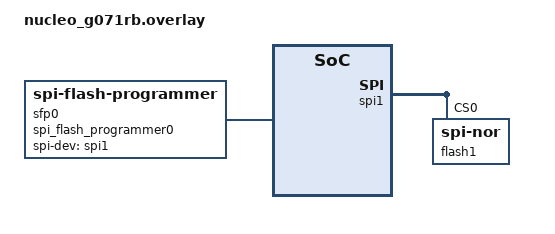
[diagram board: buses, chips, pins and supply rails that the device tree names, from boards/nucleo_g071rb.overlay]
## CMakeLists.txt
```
# SPDX-License-Identifier: Apache-2.0

cmake_minimum_required(VERSION 3.20.0)
find_package(Zephyr REQUIRED HINTS $ENV{ZEPHYR_BASE})
project(flash_jesd216)

set(app_sources "")

list(APPEND app_sources
  src/main.c
  src/sfp.c
)

if(CONFIG_SFP_SHELL)
list(APPEND app_sources
  src/sfp_shell.c
)
endif()

target_sources(app PRIVATE ${app_sources})
target_include_directories(app PRIVATE include)
target_include_directories(app PRIVATE ${ZEPHYR_BASE}/..)

zephyr_syscall_header(
  ${ZEPHYR_BASE}/samples/spi_flash_programmer/include/zephyr/drivers/sfp.h
)
```

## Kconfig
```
source "Kconfig.zephyr"

menu "SPI Flash Programmer Configuration"

config SPI_FLASH_PROGRAMMER
    bool "SPI Flash Programmer"
    default y
    select DEVICE_MUTABLE
    select DT_HAS_JEDEC_SPI_NOR_ENABLED
    select FLASH
    select FLASH_JESD216
    select FLASH_JESD216_API
    select SPI
    select SPI_NOR
    select REBOOT
    help
      This option enables the SPI Flash Programmer sample application.

config SFP_SHELL
    bool "SPI flash programmer shell"
    select SHELL
    select CRC
    select CRC_SHELL
    select FLASH_SHELL
    help
      Select 'y' here to enable the SPI flash programmer shell.

config SFP_IDENTIFY_REPS
    int "Number of repetitions to identify Flash"
    range 1 10
    default 3
    help
      For a given SPI clock frequency, sfp_identify() can be configured to require several
      successful reads of serial flash discoverable parameters (SFDP) in oder to deem a
      a particular SPI clock frequency as stable. This parameter makes the number of
      repetitions easily configurable.

endmenu
```

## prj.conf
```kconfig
CONFIG_APPLICATION_DEFINED_SYSCALL=y
CONFIG_SFP_SHELL=y

# CONFIG_MAIN_STACK_SIZE=4096

CONFIG_DEBUG_INFO=y
CONFIG_DEBUG_OPTIMIZATIONS=y

CONFIG_LOG=y
CONFIG_LOG_MODE_IMMEDIATE=y

CONFIG_SHELL_CMDS_RESIZE=n
```

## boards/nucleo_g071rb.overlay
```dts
#include <mem.h>

/ {
    sfp0: spi_flash_programmer0 {
        compatible = "zephyr,spi-flash-programmer";
        status = "okay";

        spi-flash-programmer;
        vio-3p3-volts;
        min-transceiver-sck-frequency = <250000>;
        max-transceiver-sck-frequency = <31999999>;

        spi-dev = <&spi1>;
        spi-nor-dev = <&flash1>;
    };
};

&spi1 {

    /*
     * This jedec,spi-nor device is intentionally declared with invalid parameters.
     *
     * Using the devicetree API to query specific values associated with the declaration of the
     * device in DTS will naturally always return 0.
     *
     * However, one key difference that is important to note, is that this device is mutable!
     *
     * This allows us to reconfigure certain device parameters at runtime, such as
     * spi-max-frequency, size, and jedec-id, which may be determined at runtime via probing
     * the bus.
     */
    flash1: flash@0 {
        /* base bindings */
        compatible = "jedec,spi-nor";
        status = "okay";
        reg = <0>;

        /* spi-device bindings */
        spi-max-frequency = <0>;

        /* jedec,jesd216 bindings */
        size = <0>;
        jedec-id = [00 00 00];

        /* mutable bindings */
        zephyr,mutable;
    };
};

#if 0
&spi1 {

    /*
     * pinctrl-0 is identical to the default, so this is just informative.
     * The line below could be modified for different, non-default board settings.
     *
     * Using the w25q16 
     * https://www.adafruit.com/product/5632
     *
     * and nucelo_g071rb
     * https://www.st.com/en/evaluation-tools/nucleo-g071rb.html
     *
     * wire as follows:
     *
     * w25q16 | nucleo_g071rb | pin label | pinctrl name
     * -------------------------------------------------
     * G      | CN7 pin 20    | N/A       | N/A
     * 3V     | CN7 pin 16    | N/A       | N/A
     * CS     | CN10 pin 17   | PB0       | spi1_nss_pb0
     * CLK    | CN10 pin 11   | PA5       | spi1_sck_pa5
     * IO1    | CN10 pin 13   | PA6       | spi1_miso_pa6
     * IO0    | CN10 pin 15   | PA7       | spi1_mosi_pa7
     * IO2    | N/C           | N/A       | N/A
     * IO3    | N/C           | N/A       | N/A
     */
    /* pinctrl-0 = <&spi1_nss_pb0 &spi1_sck_pa5 &spi1_miso_pa6 &spi1_mosi_pa7>; */

    /*
     * This line is also redundant, because this particular chip does SPI CS in hardware.
     * The gpiob 0 pin corresponds to the named pb0 pin above.
     */
    /* cs-gpios = <&gpiob 0 GPIO_ACTIVE_LOW>; */

    flash1: flash@0 {
        /* base properties */
        compatible = "winbond,w25q16jv", "jedec,spi-nor";
        status = "okay";

        /* spi-device properties */
        reg = <0>;
        spi-max-frequency = <31999999>; /* spi_ll_stm32.c driver does not properly use MIN(spi-max-frequency, bus-frequency) */
        spi-cpol;
        spi-cpha;

        /* jedec,spi-nor properties */
        size = <DT_SIZE_M(16)>;

        /* jedec,spi-nor-common properties */
        has-dpd;
        t-enter-dpd = <3000>;
        t-exit-dpd = <3000>;

        /* jedec,jesd216 properties */
        jedec-id = [ef 40 15];
    };
};
#endif
```

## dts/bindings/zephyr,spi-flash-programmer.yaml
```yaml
description: A SPI flash programmer device

compatible: "zephyr,spi-flash-programmer"

include: base.yaml

properties:
  spi-flash-programmer:
    type: boolean
    required: true
    description: |
      Indicates that the device is a SPI flash programmer.
  vio-1p8-volts:
    type: boolean
    description: |
      Indicates that the SPI flash programmer supports 1.8V I/O voltage.
  vio-3p3-volts:
    type: boolean
    description: |
      Indicates that the SPI flash programmer supports 3.3V I/O voltage.
  min-transceiver-sck-frequency:
    type: int
    required: true
    description: |
      Minimum SPI transceiver serial-clock (SCK) frequency, in Hz.
  max-transceiver-sck-frequency:
    type: int
    required: true
    description: |
      Maximum SPI transceiver serial-clock (SCK) frequency, in Hz.
  spi-dev:
    type: phandle
    required: true
    description: |
      Phandle to the SPI device node that the SPI flash programmer is connected to.
  spi-nor-dev:
    type: phandle
    required: true
    description: |
      Phandle to the SPI NOR device node.
```

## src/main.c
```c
#include <zephyr/device.h>
#include <zephyr/devicetree.h>
#include <zephyr/drivers/sfp.h>

int main()
{
	return sfp_identify(DEVICE_DT_GET(DT_NODELABEL(sfp0)));
}
```

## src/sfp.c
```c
#define DT_DRV_COMPAT zephyr_spi_flash_programmer

#include <stdint.h>

#include <zephyr/drivers/flash.h>
#include <zephyr/drivers/flash/jesd216.h>
#include <zephyr/drivers/flash/spi_nor.h>
#include <zephyr/drivers/sfp.h>
#include <zephyr/drivers/spi.h>
#include <zephyr/drivers/flash/jesd216.h>
#include <zephyr/kernel.h>
#include <zephyr/sys/si.h>

/* TODO: create a Kconfig */
#define SFP_SFDP_SIZE 5

/* clang-format off */
const char *const sfp_vio_s[] = {
    [SFP_VIO_1p8V] = "1.8 V",
    [SFP_VIO_3p3V] = "3.3 V",
};
/* clang-format on */

/* clang-format off */
const char *const sfp_setting_s[] = {
    [SFP_SETTING_CACHE] = "cache",
    [SFP_SETTING_CPHA] = "cpha",
    [SFP_SETTING_CPOL] = "cpol",
    [SFP_SETTING_CSPOL] = "cspol",
    [SFP_SETTING_FREQ] = "freq",
    [SFP_SETTING_MAX_FREQ] = "max_freq",
    [SFP_SETTING_MIN_FREQ] = "min_freq",
	[SFP_SETTING_SECT_SIZE] = "sector_size",
    [SFP_SETTING_SIZE] = "size",
    [SFP_SETTING_VIO] = "vio",
};
/* clang-format on */

/* clang-format off */
const char *const sfp_setting_desc[] = {
    [SFP_SETTING_CACHE] = "Get or set the cached image name. This sets the default for the 'burn' command.",
    [SFP_SETTING_CPHA] = "Get or set the current SPI clock phase; 0 := sample data on the first clock edge, 1 := sample data on the second clock edge.",
    [SFP_SETTING_CPOL] = "Get or set the SPI clock idle state (polarity); 0 := logic low. 1 := logic high.",
    [SFP_SETTING_CSPOL] = "Get or set the SPI chip-select idle state (polarity); 0 := logic low. 1 := logic high.",
    [SFP_SETTING_FREQ] = "Get or set the current SPI clock frequency.",
    [SFP_SETTING_MAX_FREQ] = "Get or set the maximum SPI clock frequency supported by the device.",
    [SFP_SETTING_MIN_FREQ] = "Get or set the minimum SPI clock frequency supported by the device.",
	[SFP_SETTING_SECT_SIZE] = "Get the minimum sector size (erase size, in bytes) supported by the device.",
    [SFP_SETTING_SIZE] = "Get the SPI flash device size (in bytes).",
    [SFP_SETTING_VIO] = "Get or set the I/O voltage.",
};
/* clang-format on */

/* clang-format off */
const char *const sfp_cmd_s[] = {
	[SFP_CMD_BURN] = "burn",
	[SFP_CMD_CACHE] = "cache",
	[SFP_CMD_GET] = "get",
	[SFP_CMD_HELP] = "help",
	[SFP_CMD_IDENTIFY] = "identify",
	[SFP_CMD_SET] = "set",
};
/* clang-format on */

struct sfp_impl_config {
	struct sfp_config_common common;
	const struct device *spi_dev;
	const struct device *spi_nor_dev;
	bool vio[_SFP_VIO_NUM];
};

struct sfp_impl_data {
	/* TODO: actually lock this mutex sometimes */
	struct k_mutex lock;
	struct sfp_setting settings[_SFP_SETTING_NUM];
};

int sfp_str_to_setting(const char *s)
{
	ARRAY_FOR_EACH(sfp_setting_s, i) {
		if (strcmp(sfp_setting_s[i], s) == 0) {
			return i;
		}
	}

	return -EINVAL;
}

static inline void sfp_impl_set_bool(const struct device *dev, enum sfp_setting_e setting, bool val)
{
	struct sfp_impl_data *data = dev->data;

	data->settings[setting].value.v_bool = val;
	data->settings[setting].type = setting;
	data->settings[setting].is_set = true;
}

static inline void sfp_impl_set_u32(const struct device *dev, enum sfp_setting_e setting,
				    uint32_t val)
{
	struct sfp_impl_data *data = dev->data;

	data->settings[setting].value.v_u32 = val;
	data->settings[setting].type = setting;
	data->settings[setting].is_set = true;
}

static inline void sfp_impl_set_str(const struct device *dev, enum sfp_setting_e setting,
				    const char *val)
{
	struct sfp_impl_data *data = dev->data;

	strncpy(data->settings[setting].value.v_str, val,
		sizeof(data->settings[setting].value.v_str));
	data->settings[setting].type = setting;
	data->settings[setting].is_set = true;
}

static inline bool sfp_impl_get_bool(const struct device *dev, enum sfp_setting_e setting)
{
	struct sfp_impl_data *data = dev->data;

	return data->settings[setting].value.v_bool;
}

static inline uint32_t sfp_impl_get_u32(const struct device *dev, enum sfp_setting_e setting)
{
	struct sfp_impl_data *data = dev->data;

	return data->settings[setting].value.v_u32;
}

static uint32_t sfp_parse_jesd216_size(const struct device *dev,
				       const struct jesd216_sfdp_header *hp)
{
	uint32_t ret = 0;

	for (const struct jesd216_param_header *it = hp->phdr,
					       *end = it + MIN(SFP_SFDP_SIZE, 1 + hp->nph);
	     it < end; ++it) {
		uint16_t id = jesd216_param_id(it);
		uint32_t addr = jesd216_param_addr(it);

		/* FIXME: VLAs are bad. This should be a max-size type array */
		uint32_t dw[it->len_dw];

		if (flash_sfdp_read(dev, addr, dw, sizeof(dw)) < 0) {
			break;
		}

		if (id != JESD216_SFDP_PARAM_ID_BFP) {
			continue;
		}

		ret = (uint32_t)jesd216_bfp_density((struct jesd216_bfp *)dw);
		break;
	}

	return ret;
}

static int sfp_impl_identify(const struct device *dev)
{
	int rc;
	struct jedec_dt_spec jedec_dt;
	uint8_t jesd216_buf[JESD216_SFDP_SIZE(SFP_SFDP_SIZE)];
	const struct jesd216_sfdp_header *const sfdp_hdr =
		(const struct jesd216_sfdp_header *)jesd216_buf;
	const struct sfp_impl_config *config = dev->config;
	struct spi_dt_spec _spi_dt = {
		.bus = config->spi_dev,
		.config =
			{
				.frequency = sfp_sck_min(dev),
				.operation = SPI_WORD_SET(8) | SPI_LOCK_ON,
			},
	};
	struct spi_dt_spec *const spi_dt = &_spi_dt;

	for (int v = 0; v < _SFP_VIO_NUM; ++v) {
		if (!config->vio[v]) {
			continue;
		}

		/* TODO: switch to 'v' I/O voltage here */

		for (int cpha = (int)true; cpha >= (int)false; --cpha) {
			for (int cpol = (int)true; cpol >= (int)false; --cpol) {
				for (int cspol = (int)true; cspol >= (int)false; --cspol) {
					if ((bool)cpha) {
						spi_dt->config.operation |= SPI_MODE_CPHA;
					} else {
						spi_dt->config.operation &= ~SPI_MODE_CPHA;
					}

					if ((bool)cpol) {
						spi_dt->config.operation |= SPI_MODE_CPOL;
					} else {
						spi_dt->config.operation &= ~SPI_MODE_CPOL;
					}

					/*
					 * This one is backwards - also if controller does not
					 * support inverting CS, then it's necessary to use a GPIO,
					 * so that property should be set in the associated
					 * spi_cs_control.
					 */
					if ((bool)cspol) {
						spi_dt->config.operation &= ~SPI_CS_ACTIVE_HIGH;
					} else {
						spi_dt->config.operation |= SPI_CS_ACTIVE_HIGH;
					}

					rc = spi_nor_set_spi_dt_spec(config->spi_nor_dev, spi_dt);
					if (rc < 0) {
						printk("%s() failed: %d", "spi_nor_set_probe_data",
						       rc);
						return rc;
					}

					rc = flash_read_jedec_id(config->spi_nor_dev, jedec_dt.id);
					if (rc < 0) {
						continue;
					}

					rc = flash_sfdp_read(config->spi_nor_dev, 0, jesd216_buf,
							     sizeof(jesd216_buf));
					if ((rc < 0) ||
					    (JESD216_SFDP_MAGIC != jesd216_sfdp_magic(sfdp_hdr))) {
						continue;
					}

					jedec_dt.size = sfp_parse_jesd216_size(config->spi_nor_dev,
									       sfdp_hdr);
					rc = spi_nor_set_jedec_dt_spec(config->spi_nor_dev,
								       &jedec_dt);
					if (rc < 0) {
						return rc;
					}

					/* discovered a JESD216-compatible device */

					/* save parameters for subsequent use */
					sfp_impl_set_bool(dev, SFP_SETTING_VIO, v);
					sfp_impl_set_u32(dev, SFP_SETTING_SIZE, jedec_dt.size >> 3);
					sfp_impl_set_bool(dev, SFP_SETTING_CPHA, cpha);
					sfp_impl_set_bool(dev, SFP_SETTING_CPOL, cpol);
					sfp_impl_set_bool(dev, SFP_SETTING_CSPOL, cspol);
					sfp_impl_set_u32(dev, SFP_SETTING_FREQ, sfp_sck_min(dev));

					goto found_device;
				}
			}
		}
	}

	return -ENODEV;

found_device:
	/*
	 * For practicality reasons, cannot use stlib.h bsearch() since an array of all frequencies
	 * between e.g. 1 and 32M is too large for memory-constrained devices.
	 */

	{
		int i, step, N;

		N = sfp_sck_max(dev) - sfp_sck_min(dev) + 1;
		for (step = 1; step < N; step <<= 1) {
			/* nothing here */
		}
		for (i = 0; step; step >>= 1) {
			if (i + step < N) {
				spi_dt->config.frequency = sfp_sck_min(dev) + i + step;

				for (int j = 0; j < CONFIG_SFP_IDENTIFY_REPS; ++j) {
					uint8_t tmp_id[3];
					rc = flash_read_jedec_id(config->spi_nor_dev, tmp_id);
					if ((rc < 0) || (memcmp(jedec_dt.id, tmp_id,
								sizeof(jedec_dt.id))) != 0) {
						goto next_step;
					}
				}

				i += step;
				/* save parameters for subsequent use */
				sfp_impl_set_u32(dev, SFP_SETTING_FREQ, spi_dt->config.frequency);
			}
		next_step:
			continue;
		}
	}

	/* TODO: write to output parameters and move printing to the shell */
	printk("Found [%02x, %02x, %02x], %u %sbit, vio: %s, cpol:%u, cpha:%u, cspol:%u, sck: "
	       "%u %sHz\n",
	       jedec_dt.id[0], jedec_dt.id[1], jedec_dt.id[2],
	       DIV_ROUND_UP(sfp_impl_get_u32(dev, SFP_SETTING_SIZE) << 3,
			    1 << si_base2_shift(sfp_impl_get_u32(dev, SFP_SETTING_SIZE) << 3)),
	       /* looks weird printing Mibit instead of Mbit here */
	       si_prefix(sfp_impl_get_u32(dev, SFP_SETTING_SIZE)),
	       sfp_vio_s[sfp_impl_get_u32(dev, SFP_SETTING_VIO)],
	       sfp_impl_get_bool(dev, SFP_SETTING_CPOL), sfp_impl_get_bool(dev, SFP_SETTING_CPHA),
	       sfp_impl_get_bool(dev, SFP_SETTING_CSPOL),
	       DIV_ROUND_UP(sfp_impl_get_u32(dev, SFP_SETTING_FREQ),
			    si_div(sfp_impl_get_u32(dev, SFP_SETTING_FREQ))),
	       si_prefix(sfp_impl_get_u32(dev, SFP_SETTING_FREQ)));

	return 0;
}

static int sfp_impl_get(const struct device *dev, struct sfp_setting *setting, size_t n)
{
	struct sfp_impl_data *const data = dev->data;

	for (size_t i = 0; i < n; ++i) {
		setting[i] = data->settings[setting[i].type];
	}

	return 0;
}

static const struct sfp_driver_api sfp_impl_driver = {
	.get = sfp_impl_get,
	// .set = sfp_impl_set,
	// .unset = sfp_impl_unset,
	.identify = sfp_impl_identify,
};

static int sfp_impl_init(const struct device *dev)
{
	struct sfp_impl_data *data = dev->data;

	return k_mutex_init(&data->lock);
}

#define DEFINE_SFP(_n)                                                                             \
                                                                                                   \
	BUILD_ASSERT(DT_INST_PROP(_n, min_transceiver_sck_frequency) > 0);                         \
	BUILD_ASSERT(DT_INST_PROP(_n, max_transceiver_sck_frequency) >=                            \
		     DT_INST_PROP(_n, min_transceiver_sck_frequency));                             \
	BUILD_ASSERT(DT_INST_PROP(_n, max_transceiver_sck_frequency) < INT32_MAX);                 \
                                                                                                   \
	static const struct sfp_impl_config sfp_impl_config_##_n = {                               \
		.common =                                                                          \
			{                                                                          \
				.freq_min = DT_INST_PROP(_n, min_transceiver_sck_frequency),       \
				.freq_max = DT_INST_PROP(_n, max_transceiver_sck_frequency),       \
			},                                                                         \
		.spi_dev = DEVICE_DT_GET(DT_INST_PHANDLE(_n, spi_dev)),                            \
		.spi_nor_dev = DEVICE_DT_GET(DT_INST_PHANDLE(_n, spi_nor_dev)),                    \
		.vio =                                                                             \
			{                                                                          \
				[SFP_VIO_1p8V] = DT_INST_PROP(_n, vio_1p8_volts),                  \
				[SFP_VIO_3p3V] = DT_INST_PROP(_n, vio_3p3_volts),                  \
			},                                                                         \
	};                                                                                         \
                                                                                                   \
	static struct sfp_impl_data sfp_impl_data_##_n;                                            \
                                                                                                   \
	DEVICE_DT_INST_DEFINE(_n, sfp_impl_init, NULL, &sfp_impl_data_##_n, &sfp_impl_config_##_n, \
			      POST_KERNEL, 99, &sfp_impl_driver);

DT_INST_FOREACH_STATUS_OKAY(DEFINE_SFP)
```

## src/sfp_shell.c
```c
#include "sfp_shell.h"

#include <zephyr/devicetree.h>
#include <zephyr/drivers/sfp.h>
#include <zephyr/kernel.h>
#include <zephyr/shell/shell.h>

static const struct device *const sfp_dev = DEVICE_DT_GET(DT_NODELABEL(sfp0));

static int sfp_cmd_burn(const struct shell *sh, size_t argc, char **argv)
{
	shell_print(sh, "%s()", __func__);

	return 0;
}
SFP_CMD_ADD(burn, NULL, "burn [setting..]", sfp_cmd_burn, 0, 10);

static int sfp_cmd_cache(const struct shell *sh, size_t argc, char **argv)
{
	shell_print(sh, "%s()", __func__);

	return 0;
}
SFP_CMD_ADD(cache, NULL, "cache [setting]", sfp_cmd_cache, 0, 10);

static int sfp_cmd_get(const struct shell *sh, size_t argc, char **argv)
{
	int rc;
	size_t n_settings;
	enum sfp_setting_e e;
	const char *const t = SFP_SETTING_TYPE;
	struct sfp_setting s[_SFP_SETTING_NUM];

	if ((argc == 1) && (argv[1][0] == '?')) {
		/* print the names of each setting */
		for (e = 0; e < _SFP_SETTING_NUM; ++e) {
			shell_print(sh, "%s: %s", sfp_setting_s[e], sfp_setting_desc[e]);
		}

		return 0;
	}

	if (argc > 1) {
		/* dump only the specified settings */
		n_settings = argc - 1;

		for (int i = 1; i < argc; ++i) {
			rc = sfp_str_to_setting(argv[i]);
			if (rc < 0) {
				return rc;
			}

			e = (enum sfp_setting_e)rc;
			s[i - 1].type = e;
		}
	} else {
		/* dump all settings */
		n_settings = ARRAY_SIZE(s);
		for (e = 0; e < ARRAY_SIZE(s); ++e) {
			s[e].type = e;
		}
	}

	rc = sfp_get(sfp_dev, s, n_settings);
	if (rc < 0) {
		shell_error(sh, "%s() failed: %d", "sfp_get", rc);
		return rc;
	}

	for (size_t i = 0; i < n_settings; ++i) {
		e = s[i].type;

		if (!s[i].is_set) {
			shell_print(sh, "%s: <unset>", sfp_setting_s[e]);
			continue;
		}

		switch (t[e]) {
		case 'b':
		case 'u':
			if (e == SFP_SETTING_VIO) {
				shell_print(sh, "%s: %s", sfp_setting_s[e],
					    sfp_vio_s[s[i].value.v_u32]);
			} else {
				shell_print(sh, "%s: %u", sfp_setting_s[e], s[i].value.v_u32);
			}
			break;
		case 's':
			shell_print(sh, "%s: %s", sfp_setting_s[e], s[i].value.v_str);
			break;
		}
	}

	return 0;
}
SFP_CMD_ADD(get, NULL, "get [?|key..]", sfp_cmd_get, 1, 11);

static int sfp_cmd_identify(const struct shell *sh, size_t argc, char **argv)
{
	int rc;

	rc = sfp_identify(sfp_dev);
	if (rc < 0) {
		shell_error(sh, "%s() failed: %d", "sfp_identify", rc);
		return rc;
	}

	return 0;
}
SFP_CMD_ADD(identify, NULL, "identify", sfp_cmd_identify, 0, 0);

static int sfp_cmd_set(const struct shell *sh, size_t argc, char **argv)
{
	shell_print(sh, "%s()", __func__);

	return 0;
}
SFP_CMD_ADD(set, NULL, "set [key value ..]", sfp_cmd_set, 0, 20);

SHELL_SUBCMD_SET_CREATE(sfp_cmds, (sfp));
SHELL_CMD_ARG_REGISTER(sfp, &sfp_cmds, "SPI flash programmer commands", NULL, 2, 20);
```

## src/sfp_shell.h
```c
#pragma once

#include <zephyr/shell/shell.h>

#define SFP_CMD_ADD(_syntax, _subcmd, _help, _handler, _mand, _opt)                                \
	SHELL_SUBCMD_ADD((sfp), _syntax, _subcmd, _help, _handler, _mand, _opt);
```
